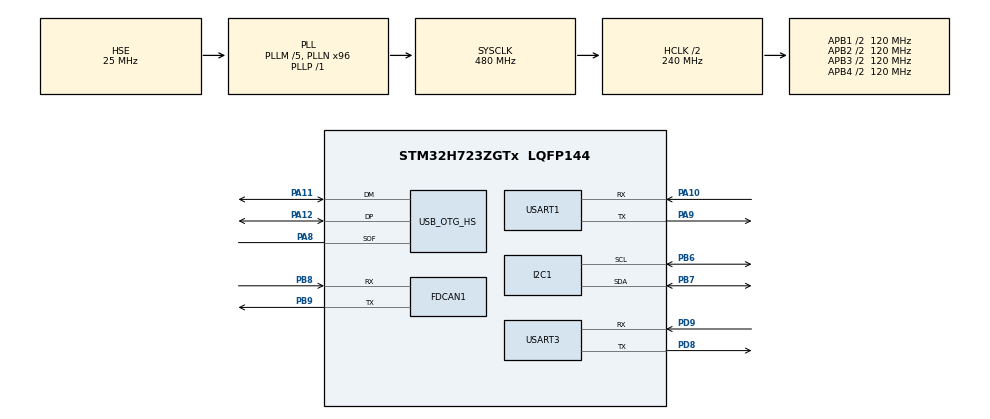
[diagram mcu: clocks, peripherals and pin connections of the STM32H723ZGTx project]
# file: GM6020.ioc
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CORTEX_M7.default_mode_Activation=0
Dma.I2C1_RX.2.Direction=DMA_PERIPH_TO_MEMORY
Dma.I2C1_RX.2.EventEnable=DISABLE
Dma.I2C1_RX.2.FIFOMode=DMA_FIFOMODE_DISABLE
Dma.I2C1_RX.2.Instance=DMA1_Stream4
Dma.I2C1_RX.2.MemDataAlignment=DMA_MDATAALIGN_BYTE
Dma.I2C1_RX.2.MemInc=DMA_MINC_ENABLE
Dma.I2C1_RX.2.Mode=DMA_NORMAL
Dma.I2C1_RX.2.PeriphDataAlignment=DMA_PDATAALIGN_BYTE
Dma.I2C1_RX.2.PeriphInc=DMA_PINC_DISABLE
Dma.I2C1_RX.2.Polarity=HAL_DMAMUX_REQ_GEN_RISING
Dma.I2C1_RX.2.Priority=DMA_PRIORITY_LOW
Dma.I2C1_RX.2.RequestNumber=1
Dma.I2C1_RX.2.SignalID=NONE
Dma.I2C1_RX.2.SyncEnable=DISABLE
Dma.I2C1_RX.2.SyncPolarity=HAL_DMAMUX_SYNC_NO_EVENT
Dma.I2C1_RX.2.SyncRequestNumber=1
Dma.I2C1_RX.2.SyncSignalID=NONE
Dma.I2C1_TX.3.Direction=DMA_MEMORY_TO_PERIPH
Dma.I2C1_TX.3.EventEnable=DISABLE
Dma.I2C1_TX.3.FIFOMode=DMA_FIFOMODE_DISABLE
Dma.I2C1_TX.3.Instance=DMA1_Stream5
Dma.I2C1_TX.3.MemDataAlignment=DMA_MDATAALIGN_BYTE
Dma.I2C1_TX.3.MemInc=DMA_MINC_ENABLE
Dma.I2C1_TX.3.Mode=DMA_NORMAL
Dma.I2C1_TX.3.PeriphDataAlignment=DMA_PDATAALIGN_BYTE
Dma.I2C1_TX.3.PeriphInc=DMA_PINC_DISABLE
Dma.I2C1_TX.3.Polarity=HAL_DMAMUX_REQ_GEN_RISING
Dma.I2C1_TX.3.Priority=DMA_PRIORITY_LOW
Dma.I2C1_TX.3.RequestNumber=1
Dma.I2C1_TX.3.SignalID=NONE
Dma.I2C1_TX.3.SyncEnable=DISABLE
Dma.I2C1_TX.3.SyncPolarity=HAL_DMAMUX_SYNC_NO_EVENT
Dma.I2C1_TX.3.SyncRequestNumber=1
Dma.I2C1_TX.3.SyncSignalID=NONE
Dma.Request0=USART1_RX
Dma.Request1=USART1_TX
Dma.Request2=I2C1_RX
Dma.Request3=I2C1_TX
Dma.Request4=USART3_RX
Dma.Request5=USART3_TX
Dma.USART1_RX.0.Direction=DMA_PERIPH_TO_MEMORY
Dma.USART1_RX.0.EventEnable=DISABLE
Dma.USART1_RX.0.FIFOMode=DMA_FIFOMODE_DISABLE
Dma.USART1_RX.0.Instance=DMA1_Stream0
Dma.USART1_RX.0.MemDataAlignment=DMA_MDATAALIGN_BYTE
Dma.USART1_RX.0.MemInc=DMA_MINC_ENABLE
Dma.USART1_RX.0.Mode=DMA_NORMAL
Dma.USART1_RX.0.PeriphDataAlignment=DMA_PDATAALIGN_BYTE
Dma.USART1_RX.0.PeriphInc=DMA_PINC_DISABLE
Dma.USART1_RX.0.Polarity=HAL_DMAMUX_REQ_GEN_RISING
Dma.USART1_RX.0.Priority=DMA_PRIORITY_LOW
Dma.USART1_RX.0.RequestNumber=1
Dma.USART1_RX.0.SignalID=NONE
Dma.USART1_RX.0.SyncEnable=DISABLE
Dma.USART1_RX.0.SyncPolarity=HAL_DMAMUX_SYNC_NO_EVENT
Dma.USART1_RX.0.SyncRequestNumber=1
Dma.USART1_RX.0.SyncSignalID=NONE
Dma.USART1_TX.1.Direction=DMA_MEMORY_TO_PERIPH
Dma.USART1_TX.1.EventEnable=DISABLE
Dma.USART1_TX.1.FIFOMode=DMA_FIFOMODE_DISABLE
Dma.USART1_TX.1.Instance=DMA1_Stream1
Dma.USART1_TX.1.MemDataAlignment=DMA_MDATAALIGN_BYTE
Dma.USART1_TX.1.MemInc=DMA_MINC_ENABLE
Dma.USART1_TX.1.Mode=DMA_NORMAL
Dma.USART1_TX.1.PeriphDataAlignment=DMA_PDATAALIGN_BYTE
Dma.USART1_TX.1.PeriphInc=DMA_PINC_DISABLE
Dma.USART1_TX.1.Polarity=HAL_DMAMUX_REQ_GEN_RISING
Dma.USART1_TX.1.Priority=DMA_PRIORITY_LOW
Dma.USART1_TX.1.RequestNumber=1
Dma.USART1_TX.1.SignalID=NONE
Dma.USART1_TX.1.SyncEnable=DISABLE
Dma.USART1_TX.1.SyncPolarity=HAL_DMAMUX_SYNC_NO_EVENT
Dma.USART1_TX.1.SyncRequestNumber=1
Dma.USART1_TX.1.SyncSignalID=NONE
Dma.USART3_RX.4.Direction=DMA_PERIPH_TO_MEMORY
Dma.USART3_RX.4.EventEnable=DISABLE
Dma.USART3_RX.4.FIFOMode=DMA_FIFOMODE_DISABLE
Dma.USART3_RX.4.Instance=DMA1_Stream2
Dma.USART3_RX.4.MemDataAlignment=DMA_MDATAALIGN_BYTE
Dma.USART3_RX.4.MemInc=DMA_MINC_ENABLE
Dma.USART3_RX.4.Mode=DMA_NORMAL
Dma.USART3_RX.4.PeriphDataAlignment=DMA_PDATAALIGN_BYTE
Dma.USART3_RX.4.PeriphInc=DMA_PINC_DISABLE
Dma.USART3_RX.4.Polarity=HAL_DMAMUX_REQ_GEN_RISING
Dma.USART3_RX.4.Priority=DMA_PRIORITY_LOW
Dma.USART3_RX.4.RequestNumber=1
Dma.USART3_RX.4.SignalID=NONE
Dma.USART3_RX.4.SyncEnable=DISABLE
Dma.USART3_RX.4.SyncPolarity=HAL_DMAMUX_SYNC_NO_EVENT
Dma.USART3_RX.4.SyncRequestNumber=1
Dma.USART3_RX.4.SyncSignalID=NONE
Dma.USART3_TX.5.Direction=DMA_MEMORY_TO_PERIPH
Dma.USART3_TX.5.EventEnable=DISABLE
Dma.USART3_TX.5.FIFOMode=DMA_FIFOMODE_DISABLE
Dma.USART3_TX.5.Instance=DMA1_Stream3
Dma.USART3_TX.5.MemDataAlignment=DMA_MDATAALIGN_BYTE
Dma.USART3_TX.5.MemInc=DMA_MINC_ENABLE
Dma.USART3_TX.5.Mode=DMA_NORMAL
Dma.USART3_TX.5.PeriphDataAlignment=DMA_PDATAALIGN_BYTE
Dma.USART3_TX.5.PeriphInc=DMA_PINC_DISABLE
Dma.USART3_TX.5.Polarity=HAL_DMAMUX_REQ_GEN_RISING
Dma.USART3_TX.5.Priority=DMA_PRIORITY_LOW
Dma.USART3_TX.5.RequestNumber=1
Dma.USART3_TX.5.SignalID=NONE
Dma.USART3_TX.5.SyncEnable=DISABLE
Dma.USART3_TX.5.SyncPolarity=HAL_DMAMUX_SYNC_NO_EVENT
Dma.USART3_TX.5.SyncRequestNumber=1
Dma.USART3_TX.5.SyncSignalID=NONE
FDCAN1.CalculateBaudRateNominal=1000000
FDCAN1.CalculateTimeBitNominal=1000
FDCAN1.CalculateTimeQuantumNominal=25.0
FDCAN1.DataPrescaler=3
FDCAN1.DataSyncJumpWidth=10
FDCAN1.DataTimeSeg1=29
FDCAN1.DataTimeSeg2=10
FDCAN1.Mode=FDCAN_MODE_NORMAL
FDCAN1.NominalPrescaler=3
FDCAN1.NominalSyncJumpWidth=10
FDCAN1.NominalTimeSeg1=29
FDCAN1.NominalTimeSeg2=10
FDCAN1.ProtocolException=ENABLE
FDCAN1.RxFifo0ElmtsNbr=3
FDCAN1.StdFiltersNbr=1
FDCAN1.TxFifoQueueElmtsNbr=3
FREERTOS.Tasks01=defaultTask,24,512,StartDefaultTask,Default,NULL,Dynamic,NULL,NULL
FREERTOS.configMAX_TASK_NAME_LEN=64
FREERTOS.configMINIMAL_STACK_SIZE=512
FREERTOS.configTOTAL_HEAP_SIZE=153600
I2C1.OwnAddress=0x50
I2C1.Timing=0x307075B1
Mcu.Family=STM32H7
Mcu.Name=STM32H723ZGTx
Mcu.Package=LQFP144
NVIC.DMA1_Stream0_IRQn=true\:5\:0\:false\:false\:true\:true\:false\:true\:true
NVIC.DMA1_Stream1_IRQn=true\:5\:0\:false\:false\:true\:true\:false\:true\:true
NVIC.DMA1_Stream2_IRQn=true\:5\:0\:false\:false\:true\:true\:false\:true\:true
NVIC.DMA1_Stream3_IRQn=true\:5\:0\:false\:false\:true\:true\:false\:true\:true
NVIC.DMA1_Stream4_IRQn=true\:5\:0\:false\:false\:true\:true\:false\:true\:true
NVIC.DMA1_Stream5_IRQn=true\:5\:0\:false\:false\:true\:true\:false\:true\:true
NVIC.FDCAN1_IT0_IRQn=true\:5\:0\:false\:false\:true\:true\:true\:true\:true
NVIC.FDCAN1_IT1_IRQn=true\:5\:0\:false\:false\:true\:true\:true\:true\:true
NVIC.I2C1_EV_IRQn=true\:5\:0\:false\:false\:true\:true\:true\:true\:true
NVIC.OTG_HS_IRQn=true\:5\:0\:false\:false\:true\:true\:true\:true\:true
NVIC.PriorityGroup=NVIC_PRIORITYGROUP_4
NVIC.TIM1_UP_IRQn=true\:15\:0\:false\:false\:true\:false\:false\:true\:true
NVIC.TIM2_IRQn=true\:5\:0\:false\:false\:true\:true\:true\:true\:true
NVIC.TimeBase=TIM1_UP_IRQn
NVIC.TimeBaseIP=TIM1
NVIC.USART1_IRQn=true\:5\:0\:false\:false\:true\:true\:true\:true\:true
NVIC.USART3_IRQn=true\:5\:0\:false\:false\:true\:true\:true\:true\:true
PA10.Mode=Asynchronous
PA10.Signal=USART1_RX
PA11.Mode=Host_FS
PA11.Signal=USB_OTG_HS_DM
PA12.Mode=Host_FS
PA12.Signal=USB_OTG_HS_DP
PA13(JTMS/SWDIO).Mode=Serial_Wire
PA13(JTMS/SWDIO).Signal=DEBUG_JTMS-SWDIO
PA14(JTCK/SWCLK).Mode=Serial_Wire
PA14(JTCK/SWCLK).Signal=DEBUG_JTCK-SWCLK
PA8.Mode=Activate_SOF_FS
PA8.Signal=USB_OTG_HS_SOF
PA9.Mode=Asynchronous
PA9.Signal=USART1_TX
PB6.Mode=I2C
PB6.Signal=I2C1_SCL
PB7.Mode=I2C
PB7.Signal=I2C1_SDA
PB8.Mode=FDCAN_Activate
PB8.Signal=FDCAN1_RX
PB9.Mode=FDCAN_Activate
PB9.Signal=FDCAN1_TX
PC14-OSC32_IN.Mode=LSE-External-Oscillator
PC14-OSC32_IN.Signal=RCC_OSC32_IN
PC15-OSC32_OUT.Mode=LSE-External-Oscillator
PC15-OSC32_OUT.Signal=RCC_OSC32_OUT
PD8.Mode=Asynchronous
PD8.Signal=USART3_TX
PD9.Mode=Asynchronous
PD9.Signal=USART3_RX
PH0-OSC_IN.Mode=HSE-External-Oscillator
PH0-OSC_IN.Signal=RCC_OSC_IN
PH1-OSC_OUT.Mode=HSE-External-Oscillator
PH1-OSC_OUT.Signal=RCC_OSC_OUT
ProjectManager.HeapSize=0x2000
ProjectManager.StackSize=0x2000
ProjectManager.TargetToolchain=MDK-ARM V5.32
RCC.ADCFreq_Value=50390625
RCC.APB1Freq_Value=120000000
RCC.APB2Freq_Value=120000000
RCC.APB3Freq_Value=120000000
RCC.APB4Freq_Value=120000000
RCC.CortexFreq_Value=480000000
RCC.D1PPRE=RCC_APB3_DIV2
RCC.D2PPRE1=RCC_APB1_DIV2
RCC.D2PPRE2=RCC_APB2_DIV2
RCC.D3PPRE=RCC_APB4_DIV2
RCC.DIVM1=5
RCC.DIVN1=96
RCC.DIVP1=1
RCC.DIVQ1=4
RCC.HCLKFreq_Value=240000000
RCC.HPRE=RCC_HCLK_DIV2
RCC.HSE_VALUE=25000000
RCC.PLLFRACN=0
RCC.PLLSourceVirtual=RCC_PLLSOURCE_HSE
RCC.SYSCLKFreq_VALUE=480000000
RCC.SYSCLKSource=RCC_SYSCLKSOURCE_PLLCLK
RCC.USBCLockSelection=RCC_USBCLKSOURCE_HSI48
RCC.USBFreq_Value=48000000
TIM2.Period=3000-1
TIM2.Prescaler=240-1
USART1.VirtualMode-Asynchronous=VM_ASYNC
USART3.VirtualMode-Asynchronous=VM_ASYNC
USB_HOST.SW_VBUS_DRIVE_CDC_HS=true
USB_HOST.USBH_HandleTypeDef=hUsbHostHS
USB_HOST.USBH_MAX_NUM_CONFIGURATION=10
USB_HOST.USBH_MAX_NUM_ENDPOINTS=20
USB_HOST.USBH_MAX_NUM_INTERFACES=20
USB_HOST.USBH_MAX_NUM_SUPPORTED_CLASS=10
USB_HOST.VirtualModeHS=Cdc
USB_OTG_HS.VirtualMode-Host_FS=Host_FS
USB_OTG_HS.dma_enable-Host_FS=ENABLE
VP_FREERTOS_VS_CMSIS_V2.Mode=CMSIS_V2
VP_MEMORYMAP_VS_MEMORYMAP.Mode=CurAppReg
VP_SYS_VS_tim1.Mode=TIM1
VP_TIM2_VS_ClockSourceINT.Mode=Internal
VP_USB_HOST_VS_USB_HOST_CDC_HS.Mode=CDC_HS
board=custom

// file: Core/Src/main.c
/* USER CODE BEGIN Header */
/**
  ******************************************************************************
  * @file           : main.c
  * @brief          : Main program body
  ******************************************************************************
  * @attention
  *
  * Copyright (c) 2026 STMicroelectronics.
  * All rights reserved.
  *
  * This software is licensed under terms that can be found in the LICENSE file
  * in the root directory of this software component.
  * If no LICENSE file comes with this software, it is provided AS-IS.
  *
  ******************************************************************************
  */
/* USER CODE END Header */
#include "main.h"
#include "cmsis_os.h"
#include "dma.h"
#include "fdcan.h"
#include "i2c.h"
#include "tim.h"
#include "usart.h"
#include "usb_host.h"
#include "gpio.h"

void SystemClock_Config(void);
void MX_FREERTOS_Init(void);

int main(void)
{

  /* MCU Configuration--------------------------------------------------------*/

  /* Reset of all peripherals, Initializes the Flash interface and the Systick. */
  HAL_Init();

  /* Configure the system clock */
  SystemClock_Config();

  /* Initialize all configured peripherals */
  MX_GPIO_Init();
  MX_DMA_Init();
  MX_FDCAN1_Init();
  MX_USART1_UART_Init();
  MX_TIM2_Init();
  MX_I2C1_Init();
  MX_USART3_UART_Init();

  /* Init scheduler */
  osKernelInitialize();  /* Call init function for freertos objects (in cmsis_os2.c) */
  MX_FREERTOS_Init();

  /* Start scheduler */
  osKernelStart();

  /* We should never get here as control is now taken by the scheduler */

  /* Infinite loop */
  while (1)
  {

  }
}

void SystemClock_Config(void)
{
  RCC_OscInitTypeDef RCC_OscInitStruct = {0};
  RCC_ClkInitTypeDef RCC_ClkInitStruct = {0};

  /** Supply configuration update enable
  */
  HAL_PWREx_ConfigSupply(PWR_LDO_SUPPLY);

  /** Configure the main internal regulator output voltage
  */
  __HAL_PWR_VOLTAGESCALING_CONFIG(PWR_REGULATOR_VOLTAGE_SCALE0);

  while(!__HAL_PWR_GET_FLAG(PWR_FLAG_VOSRDY)) {}

  /** Initializes the RCC Oscillators according to the specified parameters
  * in the RCC_OscInitTypeDef structure.
  */
  RCC_OscInitStruct.OscillatorType = RCC_OSCILLATORTYPE_HSI48|RCC_OSCILLATORTYPE_HSE;
  RCC_OscInitStruct.HSEState = RCC_HSE_ON;
  RCC_OscInitStruct.HSI48State = RCC_HSI48_ON;
  RCC_OscInitStruct.PLL.PLLState = RCC_PLL_ON;
  RCC_OscInitStruct.PLL.PLLSource = RCC_PLLSOURCE_HSE;
  RCC_OscInitStruct.PLL.PLLM = 5;
  RCC_OscInitStruct.PLL.PLLN = 96;
  RCC_OscInitStruct.PLL.PLLP = 1;
  RCC_OscInitStruct.PLL.PLLQ = 4;
  RCC_OscInitStruct.PLL.PLLR = 2;
  RCC_OscInitStruct.PLL.PLLRGE = RCC_PLL1VCIRANGE_2;
  RCC_OscInitStruct.PLL.PLLVCOSEL = RCC_PLL1VCOWIDE;
  RCC_OscInitStruct.PLL.PLLFRACN = 0;
  if (HAL_RCC_OscConfig(&RCC_OscInitStruct) != HAL_OK)
  {
    Error_Handler();
  }

  /** Initializes the CPU, AHB and APB buses clocks
  */
  RCC_ClkInitStruct.ClockType = RCC_CLOCKTYPE_HCLK|RCC_CLOCKTYPE_SYSCLK
                              |RCC_CLOCKTYPE_PCLK1|RCC_CLOCKTYPE_PCLK2
                              |RCC_CLOCKTYPE_D3PCLK1|RCC_CLOCKTYPE_D1PCLK1;
  RCC_ClkInitStruct.SYSCLKSource = RCC_SYSCLKSOURCE_PLLCLK;
  RCC_ClkInitStruct.SYSCLKDivider = RCC_SYSCLK_DIV1;
  RCC_ClkInitStruct.AHBCLKDivider = RCC_HCLK_DIV2;
  RCC_ClkInitStruct.APB3CLKDivider = RCC_APB3_DIV2;
  RCC_ClkInitStruct.APB1CLKDivider = RCC_APB1_DIV2;
  RCC_ClkInitStruct.APB2CLKDivider = RCC_APB2_DIV2;
  RCC_ClkInitStruct.APB4CLKDivider = RCC_APB4_DIV2;

  if (HAL_RCC_ClockConfig(&RCC_ClkInitStruct, FLASH_LATENCY_3) != HAL_OK)
  {
    Error_Handler();
  }
}

void Error_Handler(void)
{
  __disable_irq();
  while (1)
  {
  }
}

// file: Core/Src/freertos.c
/* USER CODE BEGIN Header */
/**
  ******************************************************************************
  * File Name          : freertos.c
  * Description        : Code for freertos applications
  ******************************************************************************
  * @attention
  *
  * Copyright (c) 2026 STMicroelectronics.
  * All rights reserved.
  *
  * This software is licensed under terms that can be found in the LICENSE file
  * in the root directory of this software component.
  * If no LICENSE file comes with this software, it is provided AS-IS.
  *
  ******************************************************************************
  */
/* USER CODE END Header */

#include "FreeRTOS.h"
#include "task.h"
#include "main.h"
#include "cmsis_os.h"

/* USER CODE BEGIN Includes */
#include "ChassisControl.h"
#include "usartuser.h"
#include "tim.h"
#include "dmimudriver.h"
#include "iicuser.h"
#include "esp8266driver.h"
/* USER CODE END Includes */

/* USER CODE BEGIN Variables */
osThreadId_t motor_data_updateHandle;
osThreadId_t commandHandle;
osThreadId_t showGM6020dataHandle;
osThreadId_t chassis_status_updateHandle;
osThreadId_t dmimu_updateHandle;

extern USBH_HandleTypeDef hUsbHostHS;
/* USER CODE END Variables */
/* Definitions for defaultTask */
osThreadId_t defaultTaskHandle;
const osThreadAttr_t defaultTask_attributes = {
  .name = "defaultTask",
  .stack_size = 512 * 4,
  .priority = (osPriority_t) osPriorityNormal,
};

void StartDefaultTask(void *argument);

extern void MX_USB_HOST_Init(void);
void MX_FREERTOS_Init(void); /* (MISRA C 2004 rule 8.1) */

void MX_FREERTOS_Init(void) {
  /* USER CODE BEGIN Init */
  FDCAN_Filter_init();
  HAL_FDCAN_ActivateNotification(&hfdcan1, FDCAN_IT_RX_FIFO0_NEW_MESSAGE, 0);
  HAL_FDCAN_Start(&hfdcan1);
  HAL_UARTEx_ReceiveToIdle_DMA(&huart1, usart1rxdatabuff, 64);
  HAL_UARTEx_ReceiveToIdle_DMA(&huart3, usart3rxdatabuff, 64);
  pidinit();
  HAL_TIM_Base_Start_IT(&htim2);
  HAL_I2C_EnableListen_IT(&hi2c1);
  esp8266_init();
  /* USER CODE END Init */

  /* Create the thread(s) */
  /* creation of defaultTask */
  defaultTaskHandle = osThreadNew(StartDefaultTask, NULL, &defaultTask_attributes);

  /* USER CODE BEGIN RTOS_THREADS */
  motor_data_updateHandle = osThreadNew(motor_data_update, NULL, &(osThreadAttr_t){
                                                                     .name = "motor_data_update",
                                                                     .stack_size = 2048,
                                                                     .priority = osPriorityNormal,
                                                                 });

  commandHandle = osThreadNew(command, NULL, &(osThreadAttr_t){
                                                       .name = "command",
                                                       .stack_size = 4096,
                                                       .priority = osPriorityNormal,
                                                   });

  showGM6020dataHandle = osThreadNew(showmotordata, NULL, &(osThreadAttr_t){
                                                       .name = "showmotordata",
                                                       .stack_size = 4096,
                                                       .priority = osPriorityNormal,
                                                   });

  chassis_status_updateHandle = osThreadNew(chassis_status_update, NULL, &(osThreadAttr_t){
                                                        .name = "chassis_status_update",
                                                        .stack_size = 20480,
                                                        .priority = osPriorityNormal,
                                                    });

  dmimu_updateHandle = osThreadNew(dmimu_update, NULL, &(osThreadAttr_t){
                                                           .name = "dmimu_update",
                                                           .stack_size = 8192,
                                                           .priority = osPriorityNormal,
                                                       });
  /* USER CODE END RTOS_THREADS */

}

void StartDefaultTask(void *argument)
{
  /* init code for USB_HOST */
  MX_USB_HOST_Init();
  /* USER CODE BEGIN StartDefaultTask */
  /* Infinite loop */
  for(;;)
  {
    osDelay(10);
    int buff = 1;
    osMessageQueuePut(hUsbHostHS.os_event, &buff, 0, 10);
  }
  /* USER CODE END StartDefaultTask */
}
